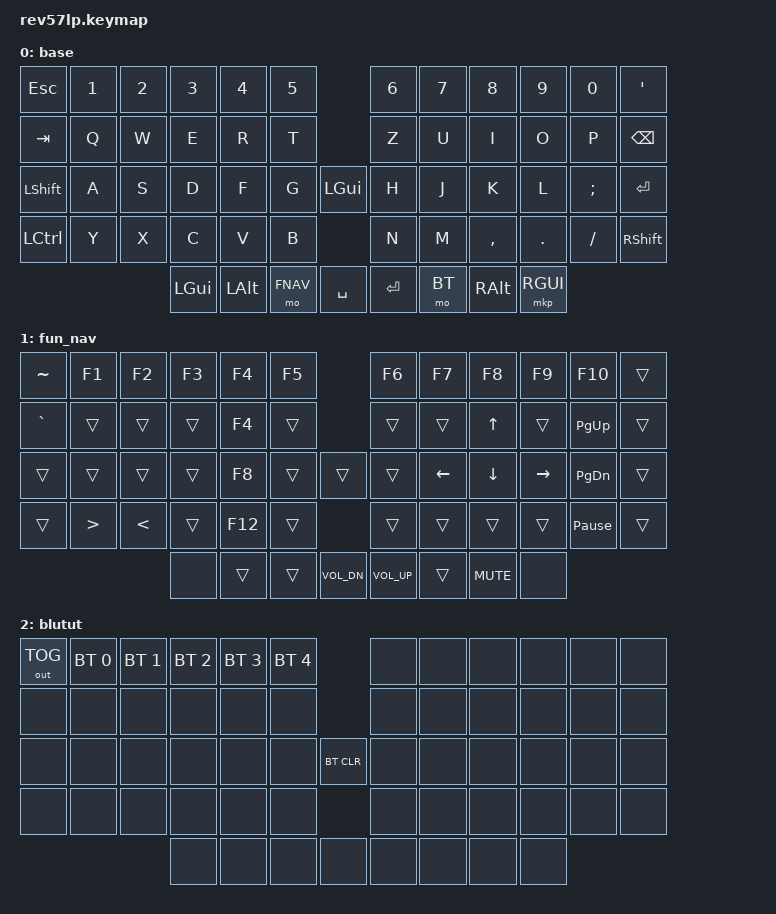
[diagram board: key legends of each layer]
/*
 * Copyright (c) 2022 The ZMK Contributors
 *
 * SPDX-License-Identifier: MIT
 */

#include <behaviors.dtsi>
#include <dt-bindings/zmk/keys.h>
#include <dt-bindings/zmk/bt.h>
#include <dt-bindings/zmk/outputs.h>

#define BASE    0
#define FNAV    1
#define BT      2

/ {
    combos {
        compatible = "zmk,combos";
        
        combo_BOOT {
            timeout-ms = <50>;
            key-positions = <4 5 6 7>;
            bindings = <&bootloader>;
        };

        combo_BT {
            timeout-ms = <50>;
            key-positions = <49 56>;
            bindings = <&mo BT>;
        };
    };

    keymap {
        compatible = "zmk,keymap";

        base {
            bindings = <
                &kp ESC      &kp N1     &kp N2    &kp N3    &kp N4     &kp N5                           &kp N6     &kp N7     &kp N8     &kp N9    &kp N0     &kp SQT
                &kp TAB      &kp Q      &kp W     &kp E     &kp R      &kp T                            &kp Z      &kp U      &kp I      &kp O     &kp P      &kp BSPC
                &kp LSHIFT   &kp A      &kp S     &kp D     &kp F      &kp G          &kp LGUI          &kp H      &kp J      &kp K      &kp L     &kp SEMI   &kp RET
                &kp LCTL     &kp Y      &kp X     &kp C     &kp V      &kp B                            &kp N      &kp M      &kp COMMA  &kp DOT   &kp SLASH  &kp RSHIFT
                                                  &kp LGUI  &kp LALT   &mo FNAV  &kp SPACE  &kp RET     &mo BT  &kp RALT   &mkp RGUI
            >;
        };

        fun_nav {
            bindings = <
                &kp TILDE    &kp F1     &kp F2   &kp F3     &kp F4    &kp F5                              &kp F6   &kp F7     &kp F8     &kp F9     &kp F10         &trans
                &kp GRAVE    &trans     &trans   &trans     &kp F4    &trans                              &trans   &trans     &kp UP     &trans     &kp PG_UP       &trans
                &trans       &trans     &trans   &trans     &kp F8    &trans          &trans              &trans   &kp LEFT   &kp DOWN   &kp RIGHT  &kp PG_DN       &trans
                &trans       &kp GT     &kp LT   &trans     &kp F12   &trans                              &trans   &trans     &trans     &trans     &kp PAUSE_BREAK &trans
                                                 &none      &trans    &trans  &kp C_VOL_DN  &kp C_VOL_UP  &trans     &kp C_MUTE &none
                >;
        };


        blutut {
            bindings = <
                &out OUT_TOG  &bt BT_SEL 0  &bt BT_SEL 1  &bt BT_SEL 2  &bt BT_SEL 3  &bt BT_SEL 4           &none  &none  &none  &none  &none  &none
                &none         &none         &none         &none         &none         &none                  &none  &none  &none  &none  &none  &none
                &none         &none         &none         &none         &none         &none     &bt BT_CLR   &none  &none  &none  &none  &none  &none
                &none         &none         &none         &none         &none         &none                  &none  &none  &none  &none  &none  &none
                                                                        &none  &none  &none   &none  &none   &none  &none  &none
                >;
        };
    };
};
